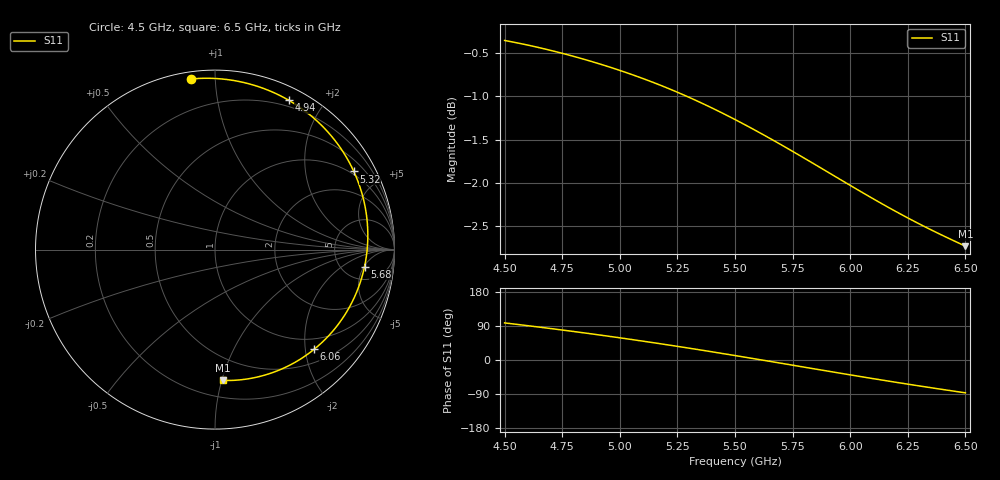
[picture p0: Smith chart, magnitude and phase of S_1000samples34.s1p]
! TOUCHSTONE file generated by CST MICROWAVE STUDIO
! Date and time: Wed Oct 26 18:29:41 2022
! Project name: L.cst
! Parameters = {Di=1.27; Epsilon_r=1.56; InnerDiameter=1.27; Length=2; Lf=10; Lg=60; OuterConductorThickness=0.2921; OuterDiameter=3.6; Wf=3; Wp=41.2; de=1.5; df=6.8; g=0.8; gx=4.51575; gy=4.97101; h=2.34; hf=1.524; px=12.7798; py=11.4878; w=9.7; wx=8.26405; wy=6.51676}
! Header version: 2018
! Port assignment regex: !\s*Touchstone port\s*([0-9]+)\s*=\s*(CST MWS port|CST DS port)\s*([0-9]+|Zmin|Zmax)\s*\(\"(.*)\"\)(\s*mode\s*([0-9]+))?.*
! Touchstone port assignment:
! Touchstone port 1 = CST MWS port 1 ("")
# GHz S DB R 50
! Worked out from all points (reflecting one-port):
!   101 points, 4.5 GHz to 6.5 GHz, reference 50 ohm
!   lowest |S11| = -2.7 dB at 6.5 GHz (marker M1), VSWR 6.41, Z = 16.1 - j50.4 ohm
!   phase of S11 starts at 98 deg and turns -184 deg over the sweep
!   S11 on the Smith chart (normalised r, x): 4.5 GHz: 0.04, +0.87; 4.94 GHz: 0.13, +1.60; 5.32 GHz: 0.88, +3.62; 5.68 GHz: 8.05, -5.15; 6.06 GHz: 0.76, -2.18; 6.5 GHz: 0.32, -1.01
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4.5  -0.36 97.9
4.58  -0.40 92.1
4.64  -0.43 87.6
4.76  -0.51 78.3
4.86  -0.59 70.3
4.94  -0.65 63.7
5  -0.70 58.5
5.06  -0.76 53.3
5.12  -0.82 48.0
5.2  -0.90 40.7
5.26  -0.97 35.1
5.32  -1.04 29.4
5.42  -1.16 19.7
5.5  -1.27 11.7
5.58  -1.38 3.7
5.68  -1.53 -6.5
5.76  -1.65 -14.7
5.82  -1.75 -20.9
5.88  -1.84 -27.0
5.94  -1.93 -33.1
6  -2.03 -39.2
6.06  -2.12 -45.2
6.16  -2.27 -55.1
6.26  -2.42 -64.7
6.32  -2.50 -70.3
6.38  -2.58 -75.8
6.44  -2.66 -81.3
6.5  -2.73 -86.6
